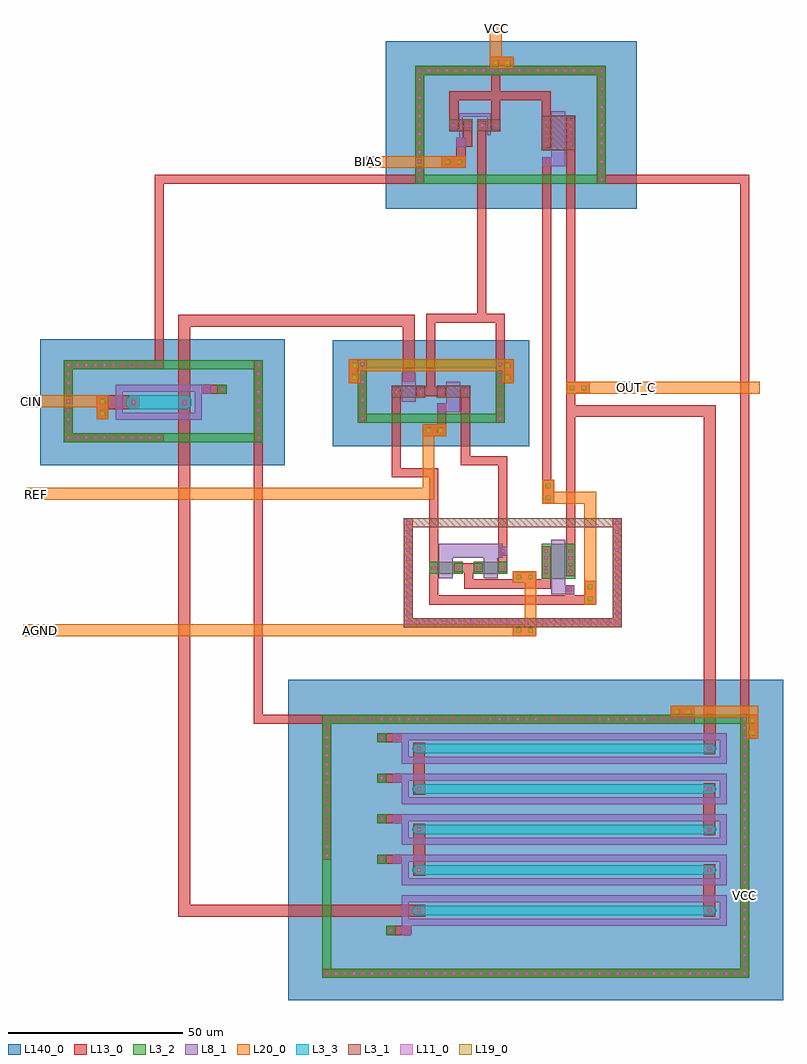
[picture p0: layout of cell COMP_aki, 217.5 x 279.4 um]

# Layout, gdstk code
from math import pi, radians
import gdstk
lib = gdstk.Library(unit=1e-6, precision=1e-09)
def R(c, l, rs):  # rectangles x0, y0, x1, y1
    for r in rs: c.add(gdstk.rectangle(r[:2], r[2:], *l))
def A(c, l, x, y, w, h, nx, ny, dx, dy):  # array of equal rectangles
    R(c, l, [(x+i*dx, y+j*dy, x+i*dx+w, y+j*dy+h) for i in range(nx) for j in range(ny)])
def P(c, l, *ps):  # polygons
    for p in ps: c.add(gdstk.Polygon(p, *l))
L3_1 = (3, 1)
L3_2 = (3, 2)
L3_3 = (3, 3)
L8_1 = (8, 1)
L11_0 = (11, 0)
L13_0 = (13, 0)
L19_0 = (19, 0)
L20_0 = (20, 0)
L140_0 = (140, 0)

res_diff_3 = lib.new_cell('res_diff$3')
P(res_diff_3, L3_3, [(-8.3,-2),(-9.3,-1),(-9.3,1),(-8.3,2),(8.3,2),(9.3,1),(9.3,-1),(8.3,-2)])
P(res_diff_3, L8_1, [(-12.3,-5),(-12.3,3),(-10.3,3),(-10.3,-3),(10.3,-3),(10.3,3),(-12.3,3),(-12.3,5),(12.3,5),(12.3,-5)])
R(res_diff_3, L11_0, [(-7.8,-0.8,-6.8,0.8), (6.8,-0.8,7.8,0.8)])
R(res_diff_3, L13_0, [(-9,-2,-5.6,2), (5.6,-2,9,2)])

cont_n = lib.new_cell('cont_n')
R(cont_n, L3_2, [(-1.3,-1.3,1.3,1.3)])
R(cont_n, L11_0, [(-0.5,-0.5,0.5,0.5)])
R(cont_n, L13_0, [(-1.3,-1.3,1.3,1.3)])

cont_g = lib.new_cell('cont_g')
R(cont_g, L8_1, [(-1.3,-1.3,1.3,1.3)])
R(cont_g, L11_0, [(-0.5,-0.5,0.5,0.5)])
R(cont_g, L13_0, [(-1.3,-1.3,1.3,1.3)])

fet_p = lib.new_cell('fet_p')
R(fet_p, L3_1, [(-3.3,-1.7,3.3,1.7)])
R(fet_p, L11_0, [(-2.5,-0.5,-1.5,0.5), (1.5,-0.5,2.5,0.5)])
R(fet_p, L13_0, [(-3.3,-1.3,-0.7,1.3), (0.7,-1.3,3.3,1.3)])
fet_p.add(gdstk.FlexPath([(0,-2.9),(0,2.9)], 1, ends="flush", simple_path=True, layer=8, datatype=1))  # L8_1

via_1 = lib.new_cell('via_1')
R(via_1, L13_0, [(-1.7,-1.7,1.7,1.7)])
R(via_1, L19_0, [(-0.7,-0.7,0.7,0.7)])
R(via_1, L20_0, [(-1.7,-1.7,1.7,1.7)])

cont_p = lib.new_cell('cont_p')
R(cont_p, L3_1, [(-1.3,-1.3,1.3,1.3)])
R(cont_p, L11_0, [(-0.5,-0.5,0.5,0.5)])
R(cont_p, L13_0, [(-1.3,-1.3,1.3,1.3)])

fet_n_1 = lib.new_cell('fet_n$1')
R(fet_n_1, L3_2, [(-4.8,-5,4.8,5)])
A(fet_n_1, L11_0, -4, -3.5, 1, 1, 1, 4, 0, 2)
A(fet_n_1, L11_0, 3, -3.5, 1, 1, 1, 4, 0, 2)
R(fet_n_1, L13_0, [(-4.8,-4.3,-2.2,4.3), (2.2,-4.3,4.8,4.3)])
fet_n_1.add(gdstk.FlexPath([(0,-6.2),(0,6.2)], 4, ends="flush", simple_path=True, layer=8, datatype=1))  # L8_1

fet_n = lib.new_cell('fet_n')
R(fet_n, L3_2, [(-4.8,-1.7,4.8,1.7)])
R(fet_n, L11_0, [(-4,-0.5,-3,0.5), (3,-0.5,4,0.5)])
R(fet_n, L13_0, [(-4.8,-1.3,-2.2,1.3), (2.2,-1.3,4.8,1.3)])
fet_n.add(gdstk.FlexPath([(0,-2.9),(0,2.9)], 4, ends="flush", simple_path=True, layer=8, datatype=1))  # L8_1

fet_p_2 = lib.new_cell('fet_p$2')
R(fet_p_2, L3_1, [(-4.8,-5,4.8,5)])
A(fet_p_2, L11_0, -4, -3.5, 1, 1, 1, 4, 0, 2)
A(fet_p_2, L11_0, 3, -3.5, 1, 1, 1, 4, 0, 2)
R(fet_p_2, L13_0, [(-4.8,-4.3,-2.2,4.3), (2.2,-4.3,4.8,4.3)])
fet_p_2.add(gdstk.FlexPath([(0,-6.2),(0,6.2)], 4, ends="flush", simple_path=True, layer=8, datatype=1))  # L8_1

res_diff = lib.new_cell('res_diff')
P(res_diff, L3_3, [(-42.55,-1.4),(-43.55,-0.4),(-43.55,0.4),(-42.55,1.4),(42.55,1.4),(43.55,0.4),(43.55,-0.4),(42.55,-1.4)])
P(res_diff, L8_1, [(-46.55,-4.4),(-46.55,2.4),(-44.55,2.4),(-44.55,-2.4),(44.55,-2.4),(44.55,2.4),(-46.55,2.4),(-46.55,4.4),(46.55,4.4),(46.55,-4.4)])
R(res_diff, L11_0, [(-42.05,-0.5,-41.05,0.5), (41.05,-0.5,42.05,0.5)])
R(res_diff, L13_0, [(-43.25,-1.7,-39.85,1.7), (39.85,-1.7,43.25,1.7)])

fet_p_1 = lib.new_cell('fet_p$1')
R(fet_p_1, L3_1, [(-4.8,-1.7,4.8,1.7)])
R(fet_p_1, L11_0, [(-4,-0.5,-3,0.5), (3,-0.5,4,0.5)])
R(fet_p_1, L13_0, [(-4.8,-1.3,-2.2,1.3), (2.2,-1.3,4.8,1.3)])
fet_p_1.add(gdstk.FlexPath([(0,-2.9),(0,2.9)], 4, ends="flush", simple_path=True, layer=8, datatype=1))  # L8_1

comp_aki = lib.new_cell('COMP_aki')
R(comp_aki, L140_0, [(-88.9,-169.2,52.8,-77.5), (-160,-16.1,-89.9,19.9), (-76.2,-10.7,-20,19.7), (-61.1,57.3,10.8,105.2)])
comp_aki.add(gdstk.FlexPath([(-125.9,13.1),(-125.9,65.7),(-51.8,65.7)], 2.6, ends="flush", simple_path=True, layer=13, datatype=0))  # L13_0
comp_aki.add(gdstk.FlexPath([(-133.8,1.9),(-141.4,1.9)], 4, ends="flush", simple_path=True, layer=13, datatype=0))  # L13_0
comp_aki.add(gdstk.FlexPath([(-45,-0.2),(-45,-5.4)], 2.6, ends="flush", simple_path=True, layer=13, datatype=0))  # L13_0
comp_aki.add(gdstk.FlexPath([(-39.5,75.8),(-39.5,71.4)], 2.6, ends="flush", simple_path=True, layer=13, datatype=0))  # L13_0
comp_aki.add(gdstk.FlexPath([(-78.4,-88.8),(-97.5,-88.8),(-97.5,-8.7)], 2.6, ends="flush", simple_path=True, layer=13, datatype=0))  # L13_0
comp_aki.add(gdstk.FlexPath([(-61.7,-94.1),(-58.2,-94.1)], 2.6, ends="flush", simple_path=True, layer=13, datatype=0))  # L13_0
comp_aki.add(gdstk.FlexPath([(-61.7,-105.7),(-58.2,-105.7)], 2.6, ends="flush", simple_path=True, layer=13, datatype=0))  # L13_0
comp_aki.add(gdstk.FlexPath([(-61.7,-117.3),(-58.2,-117.3)], 2.6, ends="flush", simple_path=True, layer=13, datatype=0))  # L13_0
comp_aki.add(gdstk.FlexPath([(-61.7,-128.9),(-58.2,-128.9)], 2.6, ends="flush", simple_path=True, layer=13, datatype=0))  # L13_0
comp_aki.add(gdstk.FlexPath([(-59.1,-149.3),(-55.6,-149.3)], 2.6, ends="flush", simple_path=True, layer=13, datatype=0))  # L13_0
comp_aki.add(gdstk.FlexPath([(-111.9,5.6),(-108.4,5.6)], 2.6, ends="flush", simple_path=True, layer=13, datatype=0))  # L13_0
comp_aki.add(gdstk.FlexPath([(-28.3,13.4),(-28.3,26),(-48.1,26)], 2.6, ends="flush", simple_path=True, layer=13, datatype=0))  # L13_0
comp_aki.add(gdstk.FlexPath([(-51,4.9),(-45.2,4.9),(-45.2,4.9)], 2.6, ends="flush", simple_path=True, layer=13, datatype=0))  # L13_0
comp_aki.add(gdstk.FlexPath([(-118.7,2.7),(-118.7,25.3),(-54.5,25.3),(-54.5,7.8)], 3.4, ends="flush", simple_path=True, layer=13, datatype=0))  # L13_0
comp_aki.add(gdstk.FlexPath([(-14.9,70.3),(-14.9,-21.3)], 2.6, ends="flush", simple_path=True, layer=13, datatype=0))  # L13_0
comp_aki.add(gdstk.FlexPath([(-58,4.4),(-58,-18.3),(-47.3,-18.3),(-47.3,-45)], 2.6, ends="flush", simple_path=True, layer=13, datatype=0))  # L13_0
comp_aki.add(gdstk.FlexPath([(-38.2,4.4),(-38.2,-14.8),(-27.5,-14.8),(-27.5,-45)], 2.6, ends="flush", simple_path=True, layer=13, datatype=0))  # L13_0
comp_aki.add(gdstk.FlexPath([(-29.5,81.7),(-29.5,89.7),(-41.5,89.7),(-41.5,81.7)], 2.6, ends="flush", simple_path=True, layer=13, datatype=0))  # L13_0
comp_aki.add(gdstk.FlexPath([(-29.5,89.7),(-15.1,89.7),(-15.1,82.5)], 2.6, ends="flush", simple_path=True, layer=13, datatype=0))  # L13_0
comp_aki.add(gdstk.FlexPath([(-47.3,-46),(-47.3,-54.7),(-3.2,-54.7)], 2.6, ends="flush", simple_path=True, layer=13, datatype=0))  # L13_0
comp_aki.add(gdstk.FlexPath([(-33.5,80.7),(-33.5,26)], 2.6, ends="flush", simple_path=True, layer=13, datatype=0))  # L13_0
comp_aki.add(gdstk.FlexPath([(-48.1,4.9),(-48.1,27.3)], 2.6, ends="flush", simple_path=True, layer=13, datatype=0))  # L13_0
comp_aki.add(gdstk.FlexPath([(-15.1,-47.1),(-15.1,-50.1),(-37.3,-50.1),(-37.3,-45.5)], 2.6, ends="flush", simple_path=True, layer=13, datatype=0))  # L13_0
comp_aki.add(gdstk.FlexPath([(-8.3,-52.2),(-8.3,-56)], 2.6, ends="flush", simple_path=True, layer=13, datatype=0))  # L13_0
comp_aki.add(gdstk.FlexPath([(-52,-143.6),(-118.7,-143.6),(-118.7,1.1)], 3.4, ends="flush", simple_path=True, layer=13, datatype=0))  # L13_0
comp_aki.add(gdstk.FlexPath([(31.7,-96.7),(31.7,-0.6),(-8.1,-0.6)], 3.4, ends="flush", simple_path=True, layer=13, datatype=0))  # L13_0
comp_aki.add(gdstk.FlexPath([(31.6,-132.6),(31.6,-143.1)], 3.4, ends="flush", simple_path=True, layer=13, datatype=0))  # L13_0
comp_aki.add(gdstk.FlexPath([(31.6,-109.4),(31.6,-119.9)], 3.4, ends="flush", simple_path=True, layer=13, datatype=0))  # L13_0
comp_aki.add(gdstk.FlexPath([(-51.5,-97.7),(-51.5,-108.2)], 3.4, ends="flush", simple_path=True, layer=13, datatype=0))  # L13_0
comp_aki.add(gdstk.FlexPath([(-51.4,-120.9),(-51.4,-131.5)], 3.4, ends="flush", simple_path=True, layer=13, datatype=0))  # L13_0
comp_aki.add(gdstk.FlexPath([(-29.5,86.3),(-29.5,96.4)], 2.6, ends="flush", simple_path=True, layer=13, datatype=0))  # L13_0
comp_aki.add(gdstk.FlexPath([(-37.5,80.7),(-37.5,76.3),(-39,76.3)], 2.6, ends="flush", simple_path=True, layer=13, datatype=0))  # L13_0
comp_aki.add(gdstk.FlexPath([(41.7,-88.4),(41.7,65.7),(1.3,65.7)], 2.6, ends="flush", simple_path=True, layer=13, datatype=0))  # L13_0
comp_aki.add(gdstk.FlexPath([(-8.1,75.5),(-8.1,-40)], 2.6, ends="flush", simple_path=True, layer=13, datatype=0))  # L13_0
comp_aki.add(gdstk.FlexPath([(-40.3,-45.5),(-34.5,-45.5)], 2.6, ends="flush", simple_path=True, layer=13, datatype=0))  # L13_0
comp_aki.add(gdstk.FlexPath([(-142.8,2.2),(-164,2.2)], 3.4, ends="flush", simple_path=True, layer=20, datatype=0))  # L20_0
comp_aki.add(gdstk.FlexPath([(-23.7,-63.4),(-164.7,-63.4)], 3.4, ends="flush", simple_path=True, layer=20, datatype=0))  # L20_0
comp_aki.add(gdstk.FlexPath([(-29.5,99.8),(-29.5,110.2)], 3.4, ends="flush", simple_path=True, layer=20, datatype=0))  # L20_0
comp_aki.add(gdstk.FlexPath([(-44,70.7),(-66.8,70.7)], 3.4, ends="flush", simple_path=True, layer=20, datatype=0))  # L20_0
comp_aki.add(gdstk.FlexPath([(-48.8,-6.8),(-48.8,-24.3),(-163.8,-24.3)], 3.4, ends="flush", simple_path=True, layer=20, datatype=0))  # L20_0
comp_aki.add(gdstk.FlexPath([(26.4,-86.6),(45.6,-86.6)], 3.4, ends="flush", simple_path=True, layer=20, datatype=0))  # L20_0
comp_aki.add(gdstk.FlexPath([(-69.2,12.5),(-26.8,12.5)], 3.4, ends="flush", simple_path=True, layer=20, datatype=0))  # L20_0
comp_aki.add(gdstk.FlexPath([(-2.5,-50.2),(-2.5,-25.4),(-13.8,-25.4)], 3.4, ends="flush", simple_path=True, layer=20, datatype=0))  # L20_0
comp_aki.add(gdstk.FlexPath([(-19.6,-47.4),(-19.6,-64.2)], 3.4, ends="flush", simple_path=True, layer=20, datatype=0))  # L20_0
comp_aki.add(gdstk.FlexPath([(-3.6,6.1),(46,6.1)], 3.4, ends="flush", simple_path=True, layer=20, datatype=0))  # L20_0
comp_aki.add(gdstk.FlexPath([(4.7,-32.6),(-54.1,-32.6)], 2.6, ends="flush", simple_path=True, layer=3, datatype=1))  # L3_1
comp_aki.add(gdstk.FlexPath([(-41.7,-1),(-41.7,2.7)], 4, ends="flush", simple_path=True, layer=8, datatype=1))  # L8_1
comp_aki.add(gdstk.FlexPath([(-54.5,6.7),(-54.5,10.4)], 4, ends="flush", simple_path=True, layer=8, datatype=1))  # L8_1
comp_aki.add(gdstk.FlexPath([(-40,84.1),(-31,84.1)], 1, ends="flush", simple_path=True, layer=8, datatype=1))  # L8_1
comp_aki.add(gdstk.FlexPath([(-11.6,-49.5),(-11.6,-53)], 4, ends="flush", simple_path=True, layer=8, datatype=1))  # L8_1
comp_aki.add(gdstk.FlexPath([(-11.6,72.8),(-11.6,69.5)], 4, ends="flush", simple_path=True, layer=8, datatype=1))  # L8_1
comp_aki.add(gdstk.FlexPath([(-39.5,78.7),(-39.5,76.3)], 1, ends="flush", simple_path=True, layer=8, datatype=1))  # L8_1
comp_aki.add(gdstk.FlexPath([(-31,-40.6),(-27.6,-40.6)], 4, ends="flush", simple_path=True, layer=8, datatype=1))  # L8_1
comp_aki.add(gdstk.FlexPath([(-43.8,-43.7),(-43.8,-40.6),(-31,-40.6),(-31,-43.7)], 4, ends="flush", simple_path=True, layer=8, datatype=1))  # L8_1
comp_aki.add(gdstk.FlexPath([(-77.9,-161.1),(-77.9,-135.1),(-77.9,-88.8),(-76.9,-88.8),(41.2,-88.8)], 2.6, ends="flush", simple_path=True, layer=3, datatype=2))  # L3_2
comp_aki.add(gdstk.FlexPath([(-98,12.6),(-126,12.6)], 2.6, ends="flush", simple_path=True, layer=3, datatype=2))  # L3_2
comp_aki.add(gdstk.FlexPath([(-98,-8.2),(-126,-8.2)], 2.6, ends="flush", simple_path=True, layer=3, datatype=2))  # L3_2
comp_aki.add(gdstk.FlexPath([(-67.2,12.9),(-28.8,12.9)], 2.6, ends="flush", simple_path=True, layer=3, datatype=2))  # L3_2
comp_aki.add(gdstk.FlexPath([(-28.8,-2.7),(-67.2,-2.7)], 2.6, ends="flush", simple_path=True, layer=3, datatype=2))  # L3_2
comp_aki.add(gdstk.FlexPath([(-50.8,65.7),(0.2,65.7)], 2.6, ends="flush", simple_path=True, layer=3, datatype=2))  # L3_2
comp_aki.add(gdstk.Reference(res_diff_3, (-126,1.9)))
r = gdstk.Reference(cont_n, (-51.3,65.7)); r.repetition = gdstk.Repetition(1, 12, v1=(0,0), v2=(0,2.6)); comp_aki.add(r)
comp_aki.add(gdstk.Reference(cont_g, (-39.5,76.3)))
comp_aki.add(gdstk.Reference(fet_p, (-31.5,81.2)))
comp_aki.add(gdstk.Reference(fet_p, (-39.5,81.2)))
r = gdstk.Reference(cont_n, (-151.9,-8.2)); r.repetition = gdstk.Repetition(1, 9, v1=(0,0), v2=(0,2.6)); comp_aki.add(r)
r = gdstk.Reference(cont_n, (-149.3,12.6)); r.repetition = gdstk.Repetition(10, 1, v1=(2.6,0), v2=(0,0)); comp_aki.add(r)
comp_aki.add(gdstk.Reference(via_1, (25.7,-86.6)))
comp_aki.add(gdstk.Reference(via_1, (22.3,-86.6)))
comp_aki.add(gdstk.Reference(via_1, (43.9,-89.3)))
comp_aki.add(gdstk.Reference(via_1, (43.9,-92.7)))
comp_aki.add(gdstk.Reference(via_1, (-7.7,6.1)))
comp_aki.add(gdstk.Reference(via_1, (-4.3,6.1)))
r = gdstk.Reference(cont_n, (-149.3,-8.2)); r.repetition = gdstk.Repetition(10, 1, v1=(2.6,0), v2=(0,0)); comp_aki.add(r)
r = gdstk.Reference(cont_n, (-97.5,-8.2)); r.repetition = gdstk.Repetition(1, 9, v1=(0,0), v2=(0,2.6)); comp_aki.add(r)
comp_aki.add(gdstk.Reference(via_1, (-23,-48.1)))
comp_aki.add(gdstk.Reference(via_1, (-2.5,-50.9)))
r = gdstk.Reference(cont_p, (5.2,-61.2)); r.repetition = gdstk.Repetition(1, 12, v1=(0,0), v2=(0,2.6)); comp_aki.add(r)
r = gdstk.Reference(cont_p, (-54.6,-61.2)); r.repetition = gdstk.Repetition(1, 12, v1=(0,0), v2=(0,2.6)); comp_aki.add(r)
comp_aki.add(gdstk.Reference(cont_g, (-27.5,-40.7)))
comp_aki.add(gdstk.Reference(fet_n_1, (-11.6,-43.6)))
comp_aki.add(gdstk.Reference(fet_n, (-31,-45.5)))
comp_aki.add(gdstk.Reference(fet_n, (-43.8,-45.5)))
r = gdstk.Reference(cont_n, (0.7,65.7)); r.repetition = gdstk.Repetition(1, 12, v1=(0,0), v2=(0,2.6)); comp_aki.add(r)
comp_aki.add(gdstk.Reference(fet_p_2, (-11.6,79)))
r = gdstk.Reference(cont_n, (-51.3,96.9)); r.repetition = gdstk.Repetition(21, 1, v1=(2.6,0), v2=(0,0)); comp_aki.add(r)
r = gdstk.Reference(cont_p, (-52,-61.2)); r.repetition = gdstk.Repetition(22, 1, v1=(2.6,0), v2=(0,0)); comp_aki.add(r)
comp_aki.add(gdstk.Reference(via_1, (-19.6,-48.1)))
comp_aki.add(gdstk.Reference(via_1, (-23,-63.4)))
comp_aki.add(gdstk.Reference(via_1, (-19.6,-63.4)))
comp_aki.add(gdstk.Reference(cont_g, (-112.4,5.6)))
comp_aki.add(gdstk.Reference(cont_n, (-107.9,5.6)))
r = gdstk.Reference(cont_n, (41.7,-161.6)); r.repetition = gdstk.Repetition(1, 29, v1=(0,0), v2=(0,2.6)); comp_aki.add(r)
comp_aki.add(gdstk.Reference(res_diff, (-9.9,-143.6), rotation=pi))
comp_aki.add(gdstk.Reference(res_diff, (-9.9,-97.2)))
comp_aki.add(gdstk.Reference(res_diff, (-9.9,-108.8)))
comp_aki.add(gdstk.Reference(res_diff, (-9.9,-120.4)))
comp_aki.add(gdstk.Reference(res_diff, (-9.9,-132)))
r = gdstk.Reference(cont_n, (-77.9,-161.6)); r.repetition = gdstk.Repetition(46, 1, v1=(2.6,0), v2=(0,0)); comp_aki.add(r)
r = gdstk.Reference(cont_n, (-77.9,-88.8)); r.repetition = gdstk.Repetition(41, 1, v1=(2.6,0), v2=(0,0)); comp_aki.add(r)
r = gdstk.Reference(cont_n, (-67.7,-2.7)); r.repetition = gdstk.Repetition(1, 7, v1=(0,0), v2=(0,2.6)); comp_aki.add(r)
comp_aki.add(gdstk.Reference(cont_g, (-45,0.3)))
comp_aki.add(gdstk.Reference(cont_g, (-54.5,9.1)))
comp_aki.add(gdstk.Reference(fet_p_1, (-41.7,4.9)))
comp_aki.add(gdstk.Reference(fet_p_1, (-54.5,4.9)))
comp_aki.add(gdstk.Reference(via_1, (-69.9,12.5)))
comp_aki.add(gdstk.Reference(via_1, (-69.9,9.1)))
comp_aki.add(gdstk.Reference(via_1, (-26.1,9.1)))
r = gdstk.Reference(cont_n, (-28.3,-2.7)); r.repetition = gdstk.Repetition(1, 7, v1=(0,0), v2=(0,2.6)); comp_aki.add(r)
comp_aki.add(gdstk.Reference(via_1, (-26.1,12.5)))
comp_aki.add(gdstk.Reference(cont_g, (-8.3,-51.7)))
comp_aki.add(gdstk.Reference(via_1, (-2.5,-54.3)))
comp_aki.add(gdstk.Reference(cont_g, (-14.9,70.8)))
comp_aki.add(gdstk.Reference(via_1, (-14.5,-22)))
comp_aki.add(gdstk.Reference(via_1, (-14.5,-25.4)))
comp_aki.add(gdstk.Reference(cont_g, (-57.7,-94.1)))
comp_aki.add(gdstk.Reference(cont_n, (-62.2,-94.1)))
comp_aki.add(gdstk.Reference(cont_g, (-57.7,-105.7)))
comp_aki.add(gdstk.Reference(cont_n, (-62.2,-105.7)))
comp_aki.add(gdstk.Reference(cont_n, (-62.2,-117.3)))
comp_aki.add(gdstk.Reference(cont_g, (-57.7,-117.3)))
comp_aki.add(gdstk.Reference(cont_n, (-62.2,-128.9)))
comp_aki.add(gdstk.Reference(cont_g, (-57.7,-128.9)))
comp_aki.add(gdstk.Reference(cont_n, (-59.6,-149.3)))
comp_aki.add(gdstk.Reference(cont_g, (-55.1,-149.3)))
r = gdstk.Reference(cont_n, (-77.9,-127.8)); r.repetition = gdstk.Repetition(1, 15, v1=(0,0), v2=(0,2.6)); comp_aki.add(r)
comp_aki.add(gdstk.Reference(via_1, (-142.1,2.2)))
comp_aki.add(gdstk.Reference(via_1, (-142.1,-1.2)))
comp_aki.add(gdstk.Reference(via_1, (-26.1,99.1)))
comp_aki.add(gdstk.Reference(via_1, (-29.5,99.1)))
comp_aki.add(gdstk.Reference(via_1, (-43.3,70.7)))
comp_aki.add(gdstk.Reference(via_1, (-39.9,70.7)))
comp_aki.add(gdstk.Reference(via_1, (-45.4,-6.1)))
comp_aki.add(gdstk.Reference(via_1, (-48.8,-6.1)))
comp_aki.add(gdstk.Label('VCC', (41.7,-139.2), layer=48, texttype=0))
comp_aki.add(gdstk.Label('CIN', (-162.5,2.2), layer=49, texttype=0))
comp_aki.add(gdstk.Label('VCC', (-29.4,108.9), layer=49, texttype=0))
comp_aki.add(gdstk.Label('AGND', (-160,-63.4), layer=49, texttype=0))
comp_aki.add(gdstk.Label('BIAS', (-65.9,70.8), layer=49, texttype=0))
comp_aki.add(gdstk.Label('REF', (-161,-24.4), layer=49, texttype=0))
comp_aki.add(gdstk.Label('OUT_C', (10.8,6.2), layer=49, texttype=0))

lib.write_gds('COMP_aki.gds')
